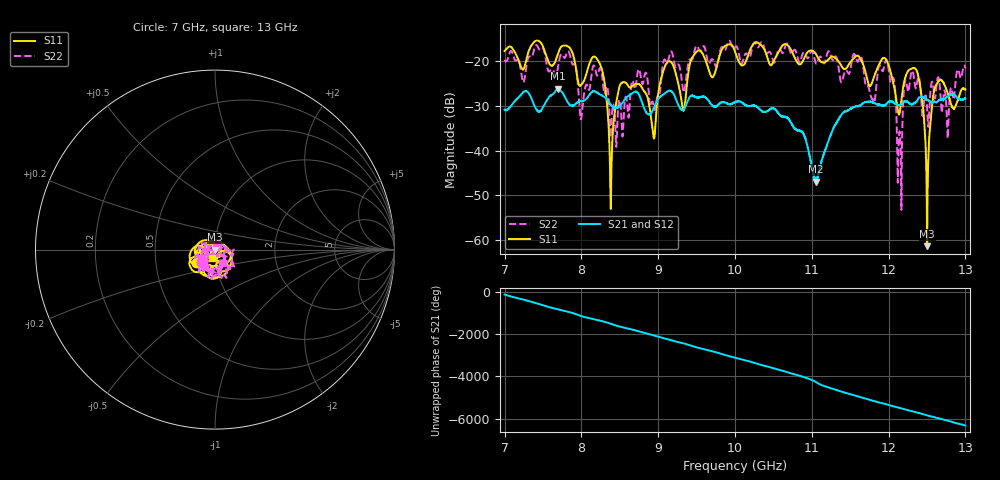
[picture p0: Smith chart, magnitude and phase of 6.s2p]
[Version] 2.0
! Rohde & Schwarz Vector Network Analyzer
! Rohde-Schwarz,ZNL20-2Port,1323001220200009,1.71.1.10-23.02.1.238
! Port Assignments:
! Nominal Port -> Actual Test Port
!  1 -> 1
!  2 -> 2
! Created: GMT+3 2024-09-24 16:03:39
# Hz S DB R 50
[Number of Ports] 2
[Two-Port Data Order] 21_12
! freq[Hz]  S11[mag dB]  S11[ang]  S21[mag dB]  S21[ang]  S12[mag dB]  S12[ang]  S22[mag dB]  S22[ang]
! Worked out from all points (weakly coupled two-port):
!   6001 points, 7 GHz to 13 GHz, reference 50 ohm
!   highest |S21| = -26.17 dB at 7.696 GHz (marker M1); lowest = -46.9 dB at 11.05 GHz (marker M2)
!   lowest |S11| = -61.4 dB at 12.5 GHz (marker M3), VSWR 1.00, Z = 50.1 + j0.0239 ohm
!   |S11| at or under -10 dB: start of sweep to end of sweep
!   |S22| runs from -53.3 to -15.4 dB; largest |S21 - S12| = 0.0011
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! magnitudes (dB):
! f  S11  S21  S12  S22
! 7 GHz  -17.7  -30.9  -30.9  -19.7
! 7.696 GHz  -18.3  -26.2  -26.3  -21.3
! 8 GHz  -25.2  -28.9  -29.0  -32.6
! 8.243 GHz  -20.6  -27.4  -27.4  -21.5
! 8.384 GHz  -51.8  -29.8  -29.7  -36.3
! 8.519 GHz  -24.9  -29.7  -29.6  -32.0
! 8.748 GHz  -25.1  -27.4  -27.5  -21.8
! 8.938 GHz  -36.8  -30.6  -30.6  -29.7
! 9 GHz  -27.2  -28.5  -28.5  -27.7
! 9.164 GHz  -20.1  -26.6  -26.7  -17.8
! 9.327 GHz  -31.1  -30.9  -30.9  -26.7
! 10 GHz  -17.8  -29.1  -29.1  -16.8
! 11 GHz  -17.6  -43.5  -43.6  -17.7
! 11.05 GHz  -18.3  -46.9  -46.8  -20.4
! 11.4 GHz  -21.5  -31.6  -31.6  -24.0
! 12 GHz  -20.9  -29.1  -29.0  -21.8
! 12.14 GHz  -31.7  -29.8  -29.8  -35.8
! 12.22 GHz  -23.7  -28.9  -29.0  -24.4
! 12.36 GHz  -21.9  -29.1  -29.1  -25.8
! 12.5 GHz  -61.4  -28.7  -28.7  -30.8
! 12.63 GHz  -25.1  -29.2  -29.2  -25.1
! 13 GHz  -26.3  -28.4  -28.3  -21.6
